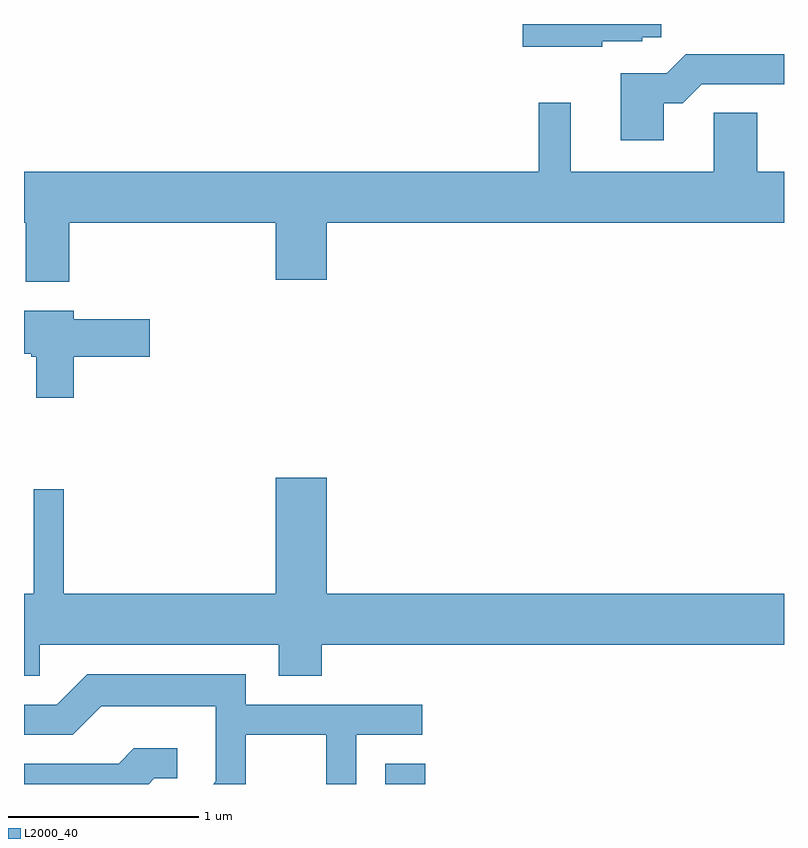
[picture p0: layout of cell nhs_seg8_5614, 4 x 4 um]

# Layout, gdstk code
import gdstk
lib = gdstk.Library(unit=1e-6, precision=1e-09)
def R(c, l, rs):  # rectangles x0, y0, x1, y1
    for r in rs: c.add(gdstk.rectangle(r[:2], r[2:], *l))
def P(c, l, *ps):  # polygons
    for p in ps: c.add(gdstk.Polygon(p, *l))
L2000_40 = (2000, 40)

nhs_seg8_5614 = lib.new_cell('nhs_seg8_5614')
R(nhs_seg8_5614, L2000_40, [(355.511,1842.342,355.724,1842.449)])
P(nhs_seg8_5614, L2000_40, [(356.654,1846.251),(356.864,1846.251),(356.864,1846.271),(356.964,1846.271),(356.964,1846.342),(356.236,1846.342),(356.236,1846.221),(356.654,1846.221)],
  [(356.979,1845.926),(357.077,1845.926),(357.177,1846.026),(357.611,1846.026),(357.611,1846.184),(357.094,1846.184),(356.994,1846.084),(356.751,1846.084),(356.751,1845.731),(356.979,1845.731)],
  [(353.849,1845.296),(354.936,1845.296),(354.936,1844.996),(355.204,1844.996),(355.204,1845.296),(357.611,1845.296),(357.611,1845.564),(357.469,1845.564),(357.469,1845.874),(357.241,1845.874),(357.241,1845.564),(356.489,1845.564),(356.489,1845.928),(356.321,1845.928),(356.321,1845.564),(353.611,1845.564),(353.611,1845.296),(353.621,1845.296),(353.621,1844.986),(353.849,1844.986)],
  [(353.874,1844.591),(354.274,1844.591),(354.274,1844.789),(353.874,1844.789),(353.874,1844.834),(353.611,1844.834),(353.611,1844.606),(353.65,1844.606),(353.65,1844.591),(353.676,1844.591),(353.676,1844.376),(353.874,1844.376)],
  [(353.694,1843.076),(354.951,1843.076),(354.951,1842.911),(355.179,1842.911),(355.179,1843.076),(357.611,1843.076),(357.611,1843.344),(355.204,1843.344),(355.204,1843.954),(354.936,1843.954),(354.936,1843.344),(353.819,1843.344),(353.819,1843.893),(353.661,1843.893),(353.661,1843.344),(353.611,1843.344),(353.611,1842.911),(353.694,1842.911)],
  [(354.779,1842.601),(355.201,1842.601),(355.201,1842.342),(355.359,1842.342),(355.359,1842.601),(355.708,1842.601),(355.708,1842.759),(354.779,1842.759),(354.779,1842.919),(353.944,1842.919),(353.784,1842.759),(353.611,1842.759),(353.611,1842.601),(353.867,1842.601),(354.017,1842.751),(354.621,1842.751),(354.621,1842.357),(354.606,1842.342),(354.779,1842.342)],
  [(354.297,1842.371),(354.418,1842.371),(354.418,1842.529),(354.189,1842.529),(354.109,1842.449),(353.611,1842.449),(353.611,1842.342),(354.268,1842.342)])

lib.write_gds('nhs_seg8_5614.gds')
